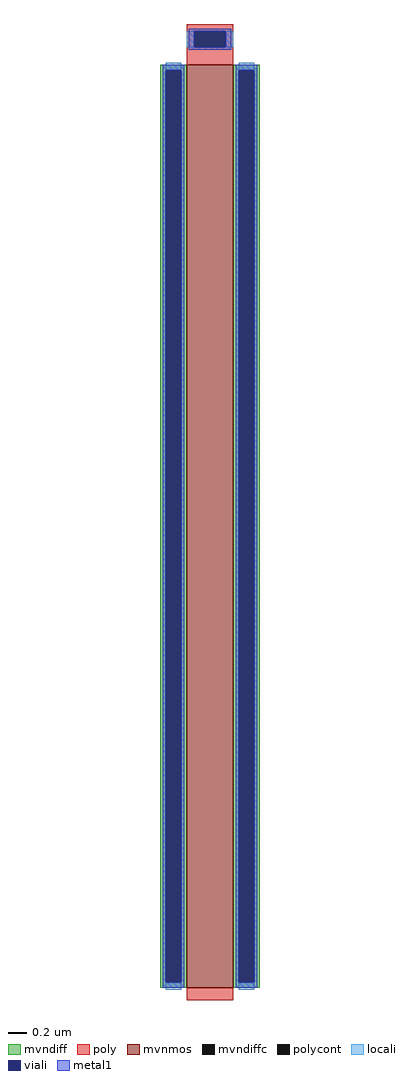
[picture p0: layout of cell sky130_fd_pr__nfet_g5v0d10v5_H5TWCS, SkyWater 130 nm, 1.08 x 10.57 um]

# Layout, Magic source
magic
tech sky130A
magscale 1 2
<< mvnmos >>
rect -50 -1031 50 969
<< mvndiff >>
rect -108 957 -50 969
rect -108 -1019 -96 957
rect -62 -1019 -50 957
rect -108 -1031 -50 -1019
rect 50 957 108 969
rect 50 -1019 62 957
rect 96 -1019 108 957
rect 50 -1031 108 -1019
<< mvndiffc >>
rect -96 -1019 -62 957
rect 62 -1019 96 957
<< poly >>
rect -50 1041 50 1057
rect -50 1007 -34 1041
rect 34 1007 50 1041
rect -50 969 50 1007
rect -50 -1057 50 -1031
<< polycont >>
rect -34 1007 34 1041
<< locali >>
rect -50 1007 -34 1041
rect 34 1007 50 1041
rect -96 957 -62 973
rect -96 -1035 -62 -1019
rect 62 957 96 973
rect 62 -1035 96 -1019
<< viali >>
rect -34 1007 34 1041
rect -96 -1019 -62 957
rect 62 -1019 96 957
<< metal1 >>
rect -46 1041 46 1047
rect -46 1007 -34 1041
rect 34 1007 46 1041
rect -46 1001 46 1007
rect -102 957 -56 969
rect -102 -1019 -96 957
rect -62 -1019 -56 957
rect -102 -1031 -56 -1019
rect 56 957 102 969
rect 56 -1019 62 957
rect 96 -1019 102 957
rect 56 -1031 102 -1019
<< properties >>
string gencell sky130_fd_pr__nfet_g5v0d10v5
string library sky130
string parameters w 10.0 l 0.5 m 1 nf 1 diffcov 100 polycov 100 guard 0 glc 0 grc 0 gtc 0 gbc 0 tbcov 100 rlcov 100 topc 1 botc 0 poverlap 0 doverlap 1 lmin 0.50 wmin 0.42 compatible {sky130_fd_pr__nfet_01v8 sky130_fd_pr__nfet_01v8_lvt  sky130_fd_bs_flash__special_sonosfet_star  sky130_fd_pr__nfet_g5v0d10v5 sky130_fd_pr__nfet_05v0_nvt  sky130_fd_pr__nfet_03v3_nvt} full_metal 0 viasrc 100 viadrn 100 viagate 100 viagb 0 viagr 0 viagl 0 viagt 0
<< end >>
